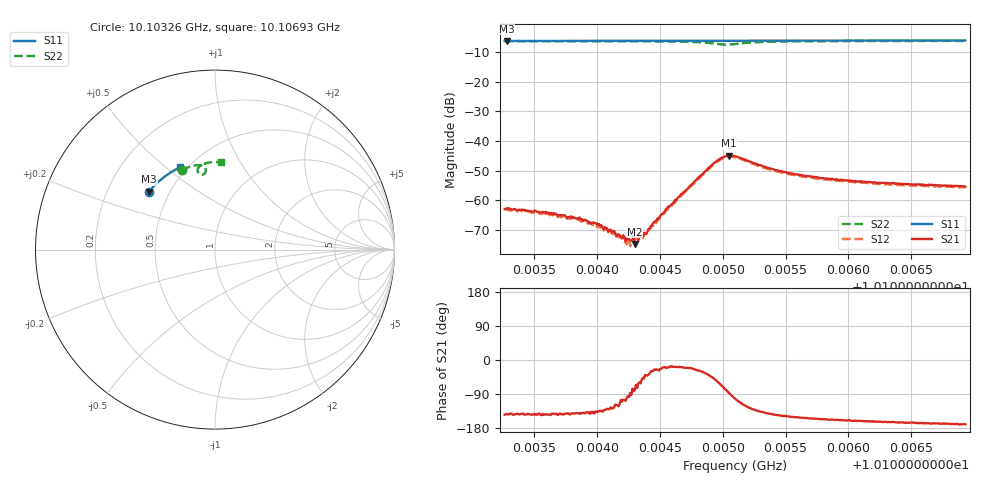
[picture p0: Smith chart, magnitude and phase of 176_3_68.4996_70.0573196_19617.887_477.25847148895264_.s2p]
#  HZ  S  RI  R  50.00
! Rohde & Schwarz Vector Network Analyzer
! Rohde-Schwarz,ZNB20-2Port,1311601062101988,3.16
! Created: UTC 3/20/2024, 5:11:39 PM
! freq[Hz]  re:S11  im:S11  re:S21  im:S21  re:S12  im:S12  re:S22  im:S22
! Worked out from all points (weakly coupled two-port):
!   401 points, 10.10326 GHz to 10.10693 GHz, reference 50 ohm
!   highest |S21| = -44.93 dB at 10.10505 GHz (marker M1); lowest = -74.7 dB at 10.1043 GHz (marker M2)
!   lowest |S11| = -6.2 dB at 10.10328 GHz (marker M3), VSWR 2.91, Z = 19.3 + j16.3 ohm
!   |S11| at or under -10 dB: nowhere
!   |S22| runs from -7.5 to -6.2 dB; largest |S21 - S12| = 0.00057
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1.0103262e10  -0.3683 0.3212  -0.000579 -0.000418  -0.000507 -0.000472  -0.1842 0.4441
1.010328e10  -0.3677 0.322  -0.000579 -0.000447  -0.000537 -0.000464  -0.1832 0.4447
1.0103592e10  -0.3555 0.3366  -0.000514 -0.000382  -0.000447 -0.00038  -0.1639 0.453
1.0103877e10  -0.344 0.3496  -0.000374 -0.000302  -0.000327 -0.000295  -0.1453 0.4599
1.0103996e10  -0.3389 0.355  -0.000297 -0.000281  -0.000236 -0.000268  -0.1371 0.4625
1.0104051e10  -0.3367 0.3573  -0.000219 -0.000241  -0.000206 -0.000232  -0.1332 0.4636
1.0104244e10  -0.3283 0.3656  -2.17e-05 -0.000225  -1.8e-05 -0.000229  -0.119 0.4674
1.010428e10  -0.3269 0.3672  5.26e-05 -0.000202  4.7e-05 -0.000193  -0.1162 0.468
1.0104299e10  -0.326 0.3679  3.28e-05 -0.000181  9.72e-05 -0.0002  -0.1148 0.4683
1.0104317e10  -0.3251 0.3688  5.41e-05 -0.000186  0.000103 -0.000199  -0.1134 0.4686
1.0104354e10  -0.3235 0.3701  0.000152 -0.000194  0.000169 -0.000184  -0.1103 0.469
1.0104381e10  -0.3224 0.3714  0.000211 -0.000173  0.000226 -0.000145  -0.1081 0.4695
1.0104491e10  -0.3175 0.3759  0.000437 -0.000234  0.000458 -0.000163  -0.0984 0.4707
1.0104565e10  -0.3142 0.379  0.000744 -0.000257  0.000703 -0.000164  -0.0911 0.4708
1.0104913e10  -0.2979 0.3926  0.00279 -0.00283  0.00294 -0.00243  -0.0514 0.4427
1.0104987e10  -0.2946 0.3953  0.00207 -0.00474  0.00243 -0.00432  -0.0585 0.4235
1.0105051e10  -0.2916 0.3976  0.000216 -0.00566  0.000721 -0.00541  -0.0777 0.4174
1.0105097e10  -0.2895 0.3994  -0.00114 -0.00538  -0.00063 -0.00528  -0.0898 0.4234
1.0105418e10  -0.2743 0.4115  -0.00265 -0.00187  -0.00237 -0.00205  -0.0793 0.4697
1.0105712e10  -0.2598 0.4216  -0.00227 -0.00108  -0.00206 -0.00122  -0.0543 0.4801
1.0106326e10  -0.2279 0.4413  -0.00185 -0.000546  -0.00174 -0.000667  -0.00984 0.4872
1.0106932e10  -0.1955 0.458  -0.00168 -0.000305  -0.0016 -0.000485  0.0308 0.4884
